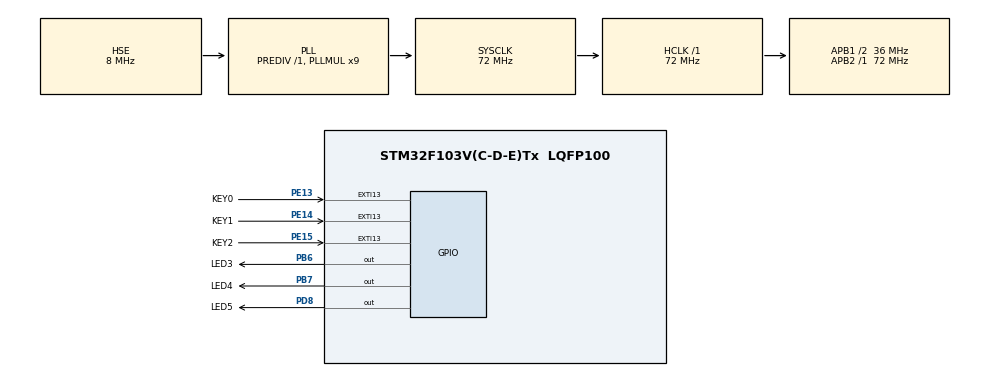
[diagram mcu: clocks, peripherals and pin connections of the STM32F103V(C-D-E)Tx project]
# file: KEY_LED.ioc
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Mcu.Family=STM32F1
Mcu.Name=STM32F103V(C-D-E)Tx
Mcu.Package=LQFP100
NVIC.PriorityGroup=NVIC_PRIORITYGROUP_4
OSC_IN.Mode=HSE-External-Oscillator
OSC_IN.Signal=RCC_OSC_IN
OSC_OUT.Mode=HSE-External-Oscillator
OSC_OUT.Signal=RCC_OSC_OUT
PA13.Mode=Serial_Wire
PA13.Signal=SYS_JTMS-SWDIO
PA14.Mode=Serial_Wire
PA14.Signal=SYS_JTCK-SWCLK
PB6.GPIO_Label=LED3
PB6.GPIO_ModeDefaultOutputPP=GPIO_MODE_OUTPUT_PP
PB6.PinState=GPIO_PIN_SET
PB6.Signal=GPIO_Output
PB7.GPIO_Label=LED4
PB7.GPIO_ModeDefaultOutputPP=GPIO_MODE_OUTPUT_PP
PB7.PinState=GPIO_PIN_SET
PB7.Signal=GPIO_Output
PD8.GPIO_Label=LED5
PD8.GPIO_ModeDefaultOutputPP=GPIO_MODE_OUTPUT_PP
PD8.PinState=GPIO_PIN_SET
PD8.Signal=GPIO_Output
PE13.GPIO_Label=KEY0
PE13.PuPd=GPIO_PULLUP
PE13.Signal=GPXTI13
PE14.GPIO_Label=KEY1
PE14.PuPd=GPIO_PULLUP
PE14.Signal=GPXTI13
PE15.GPIO_Label=KEY2
PE15.PuPd=GPIO_PULLUP
PE15.Signal=GPXTI13
ProjectManager.HeapSize=0x200
ProjectManager.StackSize=0x400
ProjectManager.TargetToolchain=MDK-ARM V5.32
RCC.AHBFreq_Value=72000000
RCC.APB1CLKDivider=RCC_HCLK_DIV2
RCC.APB1Freq_Value=36000000
RCC.APB1TimFreq_Value=72000000
RCC.APB2Freq_Value=72000000
RCC.APB2TimFreq_Value=72000000
RCC.HCLKFreq_Value=72000000
RCC.PLLMUL=RCC_PLL_MUL9
RCC.PLLSourceVirtual=RCC_PLLSOURCE_HSE
RCC.SYSCLKFreq_VALUE=72000000
RCC.SYSCLKSource=RCC_SYSCLKSOURCE_PLLCLK
RCC.USBFreq_Value=72000000
board=custom

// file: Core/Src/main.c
/*******************************************************************************

 * @file      main.c
 * @author    Sunbinyuan（EEE2409036@xmu.edu.my）
 * @version   V1.0.0
 * @date      2026-10-19
 * @brief     按键轮询实验: 3个按键(PE13/PE14/PE15, 按下接地)分别
 *           控制3个LED(PB6/PB7/PD8, 低电平点亮)的开关/翻转,
 *           非阻塞周期采样消抖(HAL_GetTick时基, 10ms周期, 2次一致确认)

 * @note     预期现象: 按KEY0(SW2)翻转LED3, 按KEY1(SW3)翻转LED4,
 *           按KEY2(SW4)翻转LED5; 每键独立消抖, 按住只翻转一次
 *           (等待松开才允许下一次触发)
 *           时钟HSE 8MHz x PLL9 = 72MHz, APB1=36MHz

 * @history   V1.0.0 首版: 3按键翻转3 LED轮询实验               ---2026-10-19
 ******************************************************************************/

/* USER CODE BEGIN Header */
/* 注: 文件信息见顶部规范文件头 (个人编程代码规范) */
/* USER CODE END Header */
#include "main.h"
#include "gpio.h"

#define KEY_SCAN_PERIOD_MS       10U   /* 按键扫描周期(ms) */
#define KEY_DEBOUNCE_COUNT        2U   /* 连续N次采样一致确认按下(约20ms) */
#define KEY_RELEASE_COUNT         2U   /* 连续N次采样一致确认松开 */

/* USER CODE BEGIN PV */
static uint8_t g_key_pressed_cnt[3] = {0U, 0U, 0U};  /* 按下消抖计数器 */
static uint8_t g_key_release_cnt[3] = {0U, 0U, 0U};  /* 松开消抖计数器 */
static uint8_t g_key_locked[3] = {0U, 0U, 0U};       /* 1=已触发等松开 */

static const uint16_t keyPins[3] = {KEY0_Pin, KEY1_Pin, KEY2_Pin};
/* 按键引脚: KEY0=PE13(SW2) KEY1=PE14(SW3) KEY2=PE15(SW4) */

static GPIO_TypeDef *const keyPorts[3] = {
  KEY0_GPIO_Port, KEY1_GPIO_Port, KEY2_GPIO_Port
};
/* 按键端口表; 指针本身const, 兼容HAL非const参数(规范§指针const写法) */

static const uint16_t ledPins[3] = {LED3_Pin, LED4_Pin, LED5_Pin};
/* LED引脚表: LED3=PB6 LED4=PB7 LED5=PD8, 低电平点亮 */

static GPIO_TypeDef *const ledPorts[3] = {
  LED3_GPIO_Port, LED4_GPIO_Port, LED5_GPIO_Port
};
/* LED端口表 */

static uint32_t g_key_last_scan_tick = 0U;  /* 上次扫描时刻 */
/* USER CODE END PV */

void SystemClock_Config(void);
/* USER CODE BEGIN PFP */
static void Key_Scan(void);
/* USER CODE END PFP */

/*************************************
 * 函数名称 ： main
 * 描述     ： 主函数, 初始化时钟/GPIO后进入主循环,
 *             循环体按10ms周期执行按键扫描, 不阻塞
 * 输入     ： 无
 * 输出     ： 无
 * 返回     ： 程序不返回
 **************************************/
int main(void)
{
  /* MCU Configuration--------------------------------------------------------*/

  /* Reset of all peripherals, init Flash interface and the Systick. */
  HAL_Init();

  /* Configure the system clock */
  SystemClock_Config();

  /* Initialize all configured peripherals */
  MX_GPIO_Init();
    /* Infinite loop */
  while (1)
  {

    /* USER CODE BEGIN 3 */
    Key_Scan();
  }
  /* USER CODE END 3 */
}

/*************************************
 * 函数名称 ： SystemClock_Config
 * 描述     ： 配置系统时钟: HSE 8MHz经PLL 9倍频至72MHz,
 *             AHB=72MHz, APB1=36MHz, APB2=72MHz, Flash等待2周期
 * 输入     ： 无
 * 输出     ： 无
 * 返回     ： 无
 **************************************/
void SystemClock_Config(void)
{
  RCC_OscInitTypeDef RCC_OscInitStruct = {0};
  RCC_ClkInitTypeDef RCC_ClkInitStruct = {0};

  /** Initializes the RCC Oscillators according to the specified parameters
  * in the RCC_OscInitTypeDef structure.
  */
  RCC_OscInitStruct.OscillatorType = RCC_OSCILLATORTYPE_HSE;
  RCC_OscInitStruct.HSEState = RCC_HSE_ON;
  RCC_OscInitStruct.HSEPredivValue = RCC_HSE_PREDIV_DIV1;
  RCC_OscInitStruct.HSIState = RCC_HSI_ON;
  RCC_OscInitStruct.PLL.PLLState = RCC_PLL_ON;
  RCC_OscInitStruct.PLL.PLLSource = RCC_PLLSOURCE_HSE;
  RCC_OscInitStruct.PLL.PLLMUL = RCC_PLL_MUL9;
  if (HAL_RCC_OscConfig(&RCC_OscInitStruct) != HAL_OK)
  {
    Error_Handler();
  }

  /** Initializes the CPU, AHB and APB buses clocks
  */
  RCC_ClkInitStruct.ClockType = RCC_CLOCKTYPE_HCLK|RCC_CLOCKTYPE_SYSCLK
                              |RCC_CLOCKTYPE_PCLK1|RCC_CLOCKTYPE_PCLK2;
  RCC_ClkInitStruct.SYSCLKSource = RCC_SYSCLKSOURCE_PLLCLK;
  RCC_ClkInitStruct.AHBCLKDivider = RCC_SYSCLK_DIV1;
  RCC_ClkInitStruct.APB1CLKDivider = RCC_HCLK_DIV2;
  RCC_ClkInitStruct.APB2CLKDivider = RCC_HCLK_DIV1;

  if (HAL_RCC_ClockConfig(&RCC_ClkInitStruct, FLASH_LATENCY_2) != HAL_OK)
  {
    Error_Handler();
  }
}

/* USER CODE BEGIN 4 */
/*************************************
 * 函数名称 ： Key_Scan
 * 描述     ： 按键扫描, 按KEY_SCAN_PERIOD_MS周期采样, 连续
 *             KEY_DEBOUNCE_COUNT次读到低电平确认按下并翻转对应LED,
 *             连续KEY_RELEASE_COUNT次读到高电平确认松开后解锁;
 *             无符号减法保证tick回绕正确
 * 输入     ： 无
 * 输出     ： 无
 * 返回     ： 无
 **************************************/
static void Key_Scan(void)
{
  uint32_t now = HAL_GetTick();
  uint8_t i;

  if ((uint32_t)(now - g_key_last_scan_tick) < KEY_SCAN_PERIOD_MS)
  {
    return;                                   /* 未到扫描周期 */
  }
  g_key_last_scan_tick = now;

  for (i = 0U; i < 3U; i++)
  {
    if (HAL_GPIO_ReadPin(keyPorts[i], keyPins[i]) == GPIO_PIN_RESET)
    {
      g_key_pressed_cnt[i]++;                 /* 采样到按下(低电平) */
      g_key_release_cnt[i] = 0U;
      if ((g_key_locked[i] == 0U) &&
          (g_key_pressed_cnt[i] >= KEY_DEBOUNCE_COUNT))
      {
        HAL_GPIO_TogglePin(ledPorts[i], ledPins[i]);
        g_key_locked[i] = 1U;                 /* 按住只触发一次 */
      }
    }
    else
    {
      g_key_release_cnt[i]++;                 /* 采样到松开(高电平) */
      g_key_pressed_cnt[i] = 0U;
      if (g_key_release_cnt[i] >= KEY_RELEASE_COUNT)
      {
        g_key_locked[i] = 0U;                 /* 确认松开后解锁 */
      }
    }
  }
}
/* USER CODE END 4 */

/*************************************
 * 函数名称 ： Error_Handler
 * 描述     ： HAL库错误处理, 关全局中断后死循环(可在此挂断言/日志)
 * 输入     ： 无
 * 输出     ： 无
 * 返回     ： 无
 **************************************/
void Error_Handler(void)
{
  __disable_irq();
  while (1)
  {
  }
}
